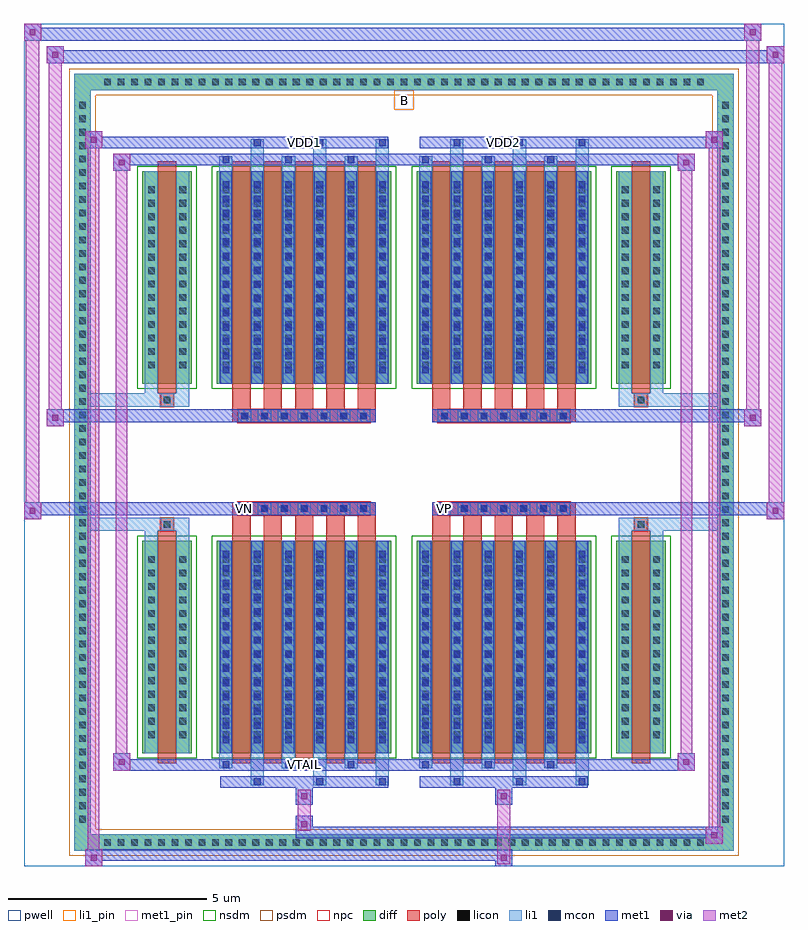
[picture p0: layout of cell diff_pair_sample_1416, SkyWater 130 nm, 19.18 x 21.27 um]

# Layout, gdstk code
import gdstk
lib = gdstk.Library(unit=1e-6, precision=5e-09)
def R(c, l, rs):  # rectangles x0, y0, x1, y1
    for r in rs: c.add(gdstk.rectangle(r[:2], r[2:], *l))
def A(c, l, x, y, w, h, nx, ny, dx, dy):  # array of equal rectangles
    R(c, l, [(x+i*dx, y+j*dy, x+i*dx+w, y+j*dy+h) for i in range(nx) for j in range(ny)])
def P(c, l, *ps):  # polygons
    for p in ps: c.add(gdstk.Polygon(p, *l))
pwell = (64, 44)
diff = (65, 20)
poly = (66, 20)
licon = (66, 44)
li1_pin = (67, 16)
li1 = (67, 20)
mcon = (67, 44)
met1_pin = (68, 16)
met1 = (68, 20)
via = (68, 44)
met2 = (69, 20)
nsdm = (93, 44)
psdm = (94, 20)
npc = (95, 20)

diff_pair_sample_1416 = lib.new_cell('diff_pair_sample_1416')
R(diff_pair_sample_1416, pwell, [(-9.59,-10.2,9.59,11.07), (-6.91,-8.39,-0.01,-0.805), (0.01,-8.39,6.91,-0.805), (-6.91,0.805,-0.01,8.39), (0.01,0.805,6.91,8.39)])
A(diff_pair_sample_1416, diff, -7.685, -9.8, 0.41, 0.41, 45, 2, 0.34, 19.19)
A(diff_pair_sample_1416, diff, -8.32, -9.215, 0.41, 0.41, 1, 54, 0, 0.34)
A(diff_pair_sample_1416, diff, 7.91, -9.215, 0.41, 0.41, 1, 54, 0, 0.34)
R(diff_pair_sample_1416, diff, [(-7.685,-9.8,7.685,-9.39), (-8.32,-9.215,-7.91,9.215), (7.91,-9.215,8.32,9.215), (-6.6,-7.345,-5.36,-1.985), (-4.72,-7.345,-0.32,-1.985), (0.32,-7.345,4.72,-1.985), (5.36,-7.345,6.6,-1.985), (-6.6,1.985,-5.36,7.345), (-4.72,1.985,-0.32,7.345), (0.32,1.985,4.72,7.345), (5.36,1.985,6.6,7.345), (-7.685,9.39,7.685,9.8)])
P(diff_pair_sample_1416, diff, [(8.32,9.8),(-8.32,9.8),(-8.32,-9.39),(-7.91,-9.39),(-7.91,9.39),(7.91,9.39),(7.91,-9.39),(-7.91,-9.39),(-8.32,-9.39),(-8.32,-9.8),(8.32,-9.8)])
A(diff_pair_sample_1416, poly, -4.33, -7.595, 0.46, 5.86, 5, 2, 0.79, 9.33)
A(diff_pair_sample_1416, poly, 0.71, -7.595, 0.46, 5.86, 5, 2, 0.79, 9.33)
A(diff_pair_sample_1416, poly, -4.33, -1.735, 0.46, 0.4, 5, 2, 0.79, 3.07)
A(diff_pair_sample_1416, poly, 0.71, -1.735, 0.46, 0.4, 5, 2, 0.79, 3.07)
A(diff_pair_sample_1416, poly, -4.185, -1.335, 0.33, 0.33, 7, 2, 0.5, 2.34)
A(diff_pair_sample_1416, poly, 0.855, -1.335, 0.33, 0.33, 7, 2, 0.5, 2.34)
R(diff_pair_sample_1416, poly, [(-6.21,-7.595,-5.75,-1.735), (5.75,-7.595,6.21,-1.735), (-6.145,-1.735,-5.815,-1.405), (-6.145,-1.735,-5.815,-1.405), (5.815,-1.735,6.145,-1.405), (5.815,-1.735,6.145,-1.405), (-4.33,-1.335,-0.71,-1.005), (0.71,-1.335,4.33,-1.005), (-4.33,1.005,-0.71,1.335), (0.71,1.005,4.33,1.335), (-6.145,1.405,-5.815,1.735), (-6.145,1.405,-5.815,1.735), (5.815,1.405,6.145,1.735), (5.815,1.405,6.145,1.735), (-6.21,1.735,-5.75,7.595), (5.75,1.735,6.21,7.595)])
A(diff_pair_sample_1416, licon, -7.565, -9.68, 0.17, 0.17, 45, 2, 0.34, 19.19)
A(diff_pair_sample_1416, licon, -8.2, -9.095, 0.17, 0.17, 1, 54, 0, 0.34)
A(diff_pair_sample_1416, licon, 8.03, -9.095, 0.17, 0.17, 1, 54, 0, 0.34)
A(diff_pair_sample_1416, licon, -6.46, -6.96, 0.17, 0.17, 1, 14, 0, 0.34)
A(diff_pair_sample_1416, licon, -5.67, -6.96, 0.17, 0.17, 1, 14, 0, 0.34)
A(diff_pair_sample_1416, licon, -4.58, -6.96, 0.17, 0.17, 6, 14, 0.79, 0.34)
A(diff_pair_sample_1416, licon, 0.46, -6.96, 0.17, 0.17, 6, 14, 0.79, 0.34)
A(diff_pair_sample_1416, licon, 5.5, -6.96, 0.17, 0.17, 1, 14, 0, 0.34)
A(diff_pair_sample_1416, licon, 6.29, -6.96, 0.17, 0.17, 1, 14, 0, 0.34)
A(diff_pair_sample_1416, licon, -4.105, -1.255, 0.17, 0.17, 7, 2, 0.5, 2.34)
A(diff_pair_sample_1416, licon, 0.935, -1.255, 0.17, 0.17, 7, 2, 0.5, 2.34)
A(diff_pair_sample_1416, licon, -6.46, 2.37, 0.17, 0.17, 1, 14, 0, 0.34)
A(diff_pair_sample_1416, licon, -5.67, 2.37, 0.17, 0.17, 1, 14, 0, 0.34)
A(diff_pair_sample_1416, licon, -4.58, 2.37, 0.17, 0.17, 6, 14, 0.79, 0.34)
A(diff_pair_sample_1416, licon, 0.46, 2.37, 0.17, 0.17, 6, 14, 0.79, 0.34)
A(diff_pair_sample_1416, licon, 5.5, 2.37, 0.17, 0.17, 1, 14, 0, 0.34)
A(diff_pair_sample_1416, licon, 6.29, 2.37, 0.17, 0.17, 1, 14, 0, 0.34)
R(diff_pair_sample_1416, licon, [(-6.065,-1.655,-5.895,-1.485), (5.895,-1.655,6.065,-1.485), (-6.065,1.485,-5.895,1.655), (5.895,1.485,6.065,1.655)])
R(diff_pair_sample_1416, li1_pin, [(-0.25,8.89,0.25,9.39)])
A(diff_pair_sample_1416, li1, -7.645, -9.76, 0.33, 0.33, 45, 2, 0.34, 19.19)
A(diff_pair_sample_1416, li1, -8.28, -9.175, 0.33, 0.33, 1, 54, 0, 0.34)
A(diff_pair_sample_1416, li1, 7.95, -9.175, 0.33, 0.33, 1, 54, 0, 0.34)
A(diff_pair_sample_1416, li1, -3.87, -8.15, 0.33, 0.805, 3, 2, 1.58, 15.495)
A(diff_pair_sample_1416, li1, -3.79, -8.15, 0.17, 0.17, 3, 2, 1.58, 16.13)
A(diff_pair_sample_1416, li1, 1.17, -8.15, 0.33, 0.805, 3, 2, 1.58, 15.495)
A(diff_pair_sample_1416, li1, 1.25, -8.15, 0.17, 0.17, 3, 2, 1.58, 16.13)
A(diff_pair_sample_1416, li1, -4.66, -7.72, 0.33, 0.375, 3, 2, 1.58, 15.065)
A(diff_pair_sample_1416, li1, -4.58, -7.72, 0.17, 0.17, 3, 2, 1.58, 15.27)
A(diff_pair_sample_1416, li1, 0.38, -7.72, 0.33, 0.375, 3, 2, 1.58, 15.065)
A(diff_pair_sample_1416, li1, 0.46, -7.72, 0.17, 0.17, 3, 2, 1.58, 15.27)
A(diff_pair_sample_1416, li1, -4.66, -7.345, 0.33, 5.36, 6, 2, 0.79, 9.33)
A(diff_pair_sample_1416, li1, 0.38, -7.345, 0.33, 5.36, 6, 2, 0.79, 9.33)
A(diff_pair_sample_1416, li1, -4.58, -7.09, 0.17, 0.17, 6, 14, 0.79, 0.36)
A(diff_pair_sample_1416, li1, -4.58, -7.09, 0.17, 4.85, 6, 2, 0.79, 9.33)
A(diff_pair_sample_1416, li1, 0.46, -7.09, 0.17, 0.17, 6, 14, 0.79, 0.36)
A(diff_pair_sample_1416, li1, 0.46, -7.09, 0.17, 4.85, 6, 2, 0.79, 9.33)
A(diff_pair_sample_1416, li1, -6.54, -7.04, 0.33, 0.33, 1, 14, 0, 0.34)
A(diff_pair_sample_1416, li1, -5.75, -7.04, 0.33, 0.33, 1, 14, 0, 0.34)
A(diff_pair_sample_1416, li1, -4.66, -7.04, 0.33, 0.33, 6, 14, 0.79, 0.34)
A(diff_pair_sample_1416, li1, 0.38, -7.04, 0.33, 0.33, 6, 14, 0.79, 0.34)
A(diff_pair_sample_1416, li1, 5.42, -7.04, 0.33, 0.33, 1, 14, 0, 0.34)
A(diff_pair_sample_1416, li1, 6.21, -7.04, 0.33, 0.33, 1, 14, 0, 0.34)
A(diff_pair_sample_1416, li1, -4.185, -1.335, 0.33, 0.33, 7, 2, 0.5, 2.34)
A(diff_pair_sample_1416, li1, 0.855, -1.335, 0.33, 0.33, 7, 2, 0.5, 2.34)
A(diff_pair_sample_1416, li1, -4.58, 2.24, 0.17, 0.17, 6, 14, 0.79, 0.36)
A(diff_pair_sample_1416, li1, 0.46, 2.24, 0.17, 0.17, 6, 14, 0.79, 0.36)
A(diff_pair_sample_1416, li1, -6.54, 2.29, 0.33, 0.33, 1, 14, 0, 0.34)
A(diff_pair_sample_1416, li1, -5.75, 2.29, 0.33, 0.33, 1, 14, 0, 0.34)
A(diff_pair_sample_1416, li1, -4.66, 2.29, 0.33, 0.33, 6, 14, 0.79, 0.34)
A(diff_pair_sample_1416, li1, 0.38, 2.29, 0.33, 0.33, 6, 14, 0.79, 0.34)
A(diff_pair_sample_1416, li1, 5.42, 2.29, 0.33, 0.33, 1, 14, 0, 0.34)
A(diff_pair_sample_1416, li1, 6.21, 2.29, 0.33, 0.33, 1, 14, 0, 0.34)
R(diff_pair_sample_1416, li1, [(-8.32,-9.8,-7.91,-9.39), (-8.32,-9.8,-7.91,-9.39), (-7.91,-9.8,7.91,-9.39), (7.91,-9.8,8.32,-9.39), (7.91,-9.8,8.32,-9.39), (-8.32,-9.39,-7.91,9.39), (7.91,-9.39,8.32,9.39), (-6.54,-7.345,-6.21,-1.985), (-5.75,-7.345,-5.42,-1.985), (5.42,-7.345,5.75,-1.985), (6.21,-7.345,6.54,-1.985), (-6.54,-1.985,-6.21,-1.405), (-5.75,-1.985,-5.42,-1.405), (5.42,-1.985,5.75,-1.405), (6.21,-1.985,6.54,-1.405), (-8.32,-1.735,-6.145,-1.405), (-6.54,-1.735,-6.145,-1.405), (-6.145,-1.735,-5.815,-1.405), (-5.815,-1.735,-5.42,-1.405), (5.42,-1.735,5.815,-1.405), (5.815,-1.735,6.145,-1.405), (5.815,-1.735,8.32,-1.405), (6.145,-1.735,6.54,-1.405), (-8.32,1.405,-6.145,1.735), (-6.54,1.405,-6.145,1.735), (-6.54,1.405,-6.21,1.985), (-6.145,1.405,-5.815,1.735), (-5.815,1.405,-5.42,1.735), (-5.75,1.405,-5.42,1.985), (5.42,1.405,5.815,1.735), (5.42,1.405,5.75,1.985), (5.815,1.405,6.145,1.735), (5.815,1.405,8.32,1.735), (6.145,1.405,6.54,1.735), (6.21,1.405,6.54,1.985), (-6.54,1.985,-6.21,7.345), (-5.75,1.985,-5.42,7.345), (5.42,1.985,5.75,7.345), (6.21,1.985,6.54,7.345), (-8.32,9.39,-7.91,9.8), (-8.32,9.39,-7.91,9.8), (-7.91,9.39,7.91,9.8), (7.91,9.39,8.32,9.8), (7.91,9.39,8.32,9.8)])
A(diff_pair_sample_1416, mcon, -3.79, -8.15, 0.17, 0.17, 3, 2, 1.58, 16.13)
A(diff_pair_sample_1416, mcon, 1.25, -8.15, 0.17, 0.17, 3, 2, 1.58, 16.13)
A(diff_pair_sample_1416, mcon, -4.58, -7.72, 0.17, 0.17, 3, 2, 1.58, 15.27)
A(diff_pair_sample_1416, mcon, 0.46, -7.72, 0.17, 0.17, 3, 2, 1.58, 15.27)
A(diff_pair_sample_1416, mcon, -4.58, -7.09, 0.17, 0.17, 6, 14, 0.79, 0.36)
A(diff_pair_sample_1416, mcon, 0.46, -7.09, 0.17, 0.17, 6, 14, 0.79, 0.36)
A(diff_pair_sample_1416, mcon, -4.105, -1.255, 0.17, 0.17, 7, 2, 0.5, 2.34)
A(diff_pair_sample_1416, mcon, 0.935, -1.255, 0.17, 0.17, 7, 2, 0.5, 2.34)
A(diff_pair_sample_1416, mcon, -4.58, 2.24, 0.17, 0.17, 6, 14, 0.79, 0.36)
A(diff_pair_sample_1416, mcon, 0.46, 2.24, 0.17, 0.17, 6, 14, 0.79, 0.36)
R(diff_pair_sample_1416, met1_pin, [(-2.655,-7.76,-2.385,-7.49), (-4.155,-1.295,-3.885,-1.025), (0.885,-1.295,1.155,-1.025), (-2.655,7.94,-2.385,8.21), (2.385,7.94,2.655,8.21)])
A(diff_pair_sample_1416, met1, -3.85, -8.21, 0.29, 0.29, 3, 2, 1.58, 16.13)
A(diff_pair_sample_1416, met1, 1.19, -8.21, 0.29, 0.29, 3, 2, 1.58, 16.13)
A(diff_pair_sample_1416, met1, -4.64, -7.78, 0.29, 0.29, 3, 2, 1.58, 15.27)
A(diff_pair_sample_1416, met1, 0.4, -7.78, 0.29, 0.29, 3, 2, 1.58, 15.27)
A(diff_pair_sample_1416, met1, -4.64, -7.345, 0.29, 5.36, 6, 2, 0.79, 9.33)
A(diff_pair_sample_1416, met1, 0.4, -7.345, 0.29, 5.36, 6, 2, 0.79, 9.33)
A(diff_pair_sample_1416, met1, -4.64, -7.15, 0.29, 0.29, 6, 14, 0.79, 0.36)
A(diff_pair_sample_1416, met1, 0.4, -7.15, 0.29, 0.29, 6, 14, 0.79, 0.36)
A(diff_pair_sample_1416, met1, -4.165, -1.315, 0.29, 0.29, 7, 2, 0.5, 2.34)
A(diff_pair_sample_1416, met1, 0.875, -1.315, 0.29, 0.29, 7, 2, 0.5, 2.34)
A(diff_pair_sample_1416, met1, -4.64, 2.18, 0.29, 0.29, 6, 14, 0.79, 0.36)
A(diff_pair_sample_1416, met1, 0.4, 2.18, 0.29, 0.29, 6, 14, 0.79, 0.36)
R(diff_pair_sample_1416, met1, [(-8.05,-10.2,-7.62,-9.77), (2.305,-10.2,2.735,-9.77), (-8.05,-10.06,2.735,-9.77), (7.62,-9.63,8.05,-9.2), (-2.735,-9.49,8.05,-9.2), (-2.735,-9.35,-2.305,-8.92), (-2.735,-8.64,-2.305,-8.21), (2.305,-8.64,2.735,-8.21), (-4.64,-8.21,-0.4,-7.92), (0.4,-8.21,4.64,-7.92), (-7.34,-7.78,-6.91,-7.35), (-7.34,-7.78,-4.64,-7.49), (-4.64,-7.78,-0.4,-7.49), (-0.4,-7.78,0.4,-7.49), (0.4,-7.78,4.64,-7.49), (4.64,-7.78,7.34,-7.49), (6.91,-7.78,7.34,-7.35), (-9.59,-1.435,-9.16,-1.005), (9.16,-1.435,9.59,-1.005), (-9.59,-1.335,-0.71,-1.005), (-4.33,-1.335,-0.71,-1.005), (0.71,-1.335,4.33,-1.005), (0.71,-1.335,9.59,-1.005), (-9.02,0.905,-8.59,1.335), (8.59,0.905,9.02,1.335), (-9.02,1.005,-4.33,1.335), (-4.33,1.005,-0.71,1.335), (0.71,1.005,4.33,1.335), (4.33,1.005,9.02,1.335), (-7.34,7.35,-6.91,7.78), (6.91,7.35,7.34,7.78), (-7.34,7.49,-4.64,7.78), (-4.64,7.49,-0.4,7.78), (-0.4,7.49,0.4,7.78), (0.4,7.49,4.64,7.78), (4.64,7.49,7.34,7.78), (-8.05,7.92,-7.62,8.35), (-8.05,7.92,-4.64,8.21), (-4.64,7.92,-0.4,8.21), (0.4,7.92,4.64,8.21), (4.64,7.92,8.05,8.21), (7.62,7.92,8.05,8.35), (-9.02,10.07,-8.59,10.5), (-9.02,10.07,-6.91,10.4), (-6.91,10.07,6.91,10.4), (6.91,10.07,9.59,10.4), (9.16,10.07,9.59,10.5), (-9.59,10.64,-9.16,11.07), (-9.59,10.64,-6.91,10.97), (-6.91,10.64,6.91,10.97), (6.91,10.64,9.02,10.97), (8.59,10.64,9.02,11.07)])
R(diff_pair_sample_1416, via, [(-7.91,-10.06,-7.76,-9.91), (2.445,-10.06,2.595,-9.91), (7.76,-9.49,7.91,-9.34), (-2.595,-9.21,-2.445,-9.06), (-2.595,-8.5,-2.445,-8.35), (2.445,-8.5,2.595,-8.35), (-7.2,-7.64,-7.05,-7.49), (7.05,-7.64,7.2,-7.49), (-9.45,-1.295,-9.3,-1.145), (9.3,-1.295,9.45,-1.145), (-8.88,1.045,-8.73,1.195), (8.73,1.045,8.88,1.195), (-7.2,7.49,-7.05,7.64), (7.05,7.49,7.2,7.64), (-7.91,8.06,-7.76,8.21), (7.76,8.06,7.91,8.21), (-8.88,10.21,-8.73,10.36), (9.3,10.21,9.45,10.36), (-9.45,10.78,-9.3,10.93), (8.73,10.78,8.88,10.93)])
R(diff_pair_sample_1416, met2, [(-8.05,-10.2,-7.62,-9.77), (-7.98,-10.2,-7.69,8.35), (-7.69,-10.2,-7.62,-9.77), (-8,-10.15,-7.67,-9.82), (2.355,-10.15,2.685,-9.82), (2.355,-9.82,2.685,-8.59), (7.62,-9.63,8.05,-9.2), (7.69,-9.63,7.98,8.35), (7.98,-9.63,8.05,-9.2), (7.67,-9.58,8,-9.25), (-2.685,-9.3,-2.355,-8.97), (-2.685,-8.97,-2.355,-8.59), (-2.685,-8.59,-2.355,-8.26), (2.355,-8.59,2.685,-8.26), (-7.34,-7.78,-6.91,-7.35), (-7.27,-7.78,-6.98,7.78), (-6.98,-7.78,-6.91,-7.35), (6.91,-7.78,7.34,-7.35), (6.98,-7.78,7.27,7.78), (7.27,-7.78,7.34,-7.35), (-7.29,-7.73,-6.96,-7.4), (6.96,-7.73,7.29,-7.4), (-9.59,-1.435,-9.16,-1.005), (-9.54,-1.435,-9.21,11.07), (-9.21,-1.435,-9.16,-1.005), (9.16,-1.435,9.59,-1.005), (9.21,-1.435,9.54,10.5), (9.54,-1.435,9.59,-1.005), (-9.54,-1.385,-9.21,-1.055), (9.21,-1.385,9.54,-1.055), (-9.02,0.905,-8.59,1.335), (-8.97,0.905,-8.64,10.5), (-8.64,0.905,-8.59,1.335), (8.59,0.905,9.02,1.335), (8.64,0.905,8.97,11.07), (8.97,0.905,9.02,1.335), (-8.97,0.955,-8.64,1.285), (8.64,0.955,8.97,1.285), (-7.34,7.35,-6.91,7.78), (-6.98,7.35,-6.91,7.78), (6.91,7.35,7.34,7.78), (7.27,7.35,7.34,7.78), (-7.29,7.4,-6.96,7.73), (6.96,7.4,7.29,7.73), (-8.05,7.92,-7.62,8.35), (-7.69,7.92,-7.62,8.35), (7.62,7.92,8.05,8.35), (7.98,7.92,8.05,8.35), (-8,7.97,-7.67,8.3), (7.67,7.97,8,8.3), (-9.02,10.07,-8.59,10.5), (-8.64,10.07,-8.59,10.5), (9.16,10.07,9.59,10.5), (9.54,10.07,9.59,10.5), (-8.97,10.12,-8.64,10.45), (9.21,10.12,9.54,10.45), (-9.59,10.64,-9.16,11.07), (-9.21,10.64,-9.16,11.07), (8.59,10.64,9.02,11.07), (8.97,10.64,9.02,11.07), (-9.54,10.69,-9.21,11.02), (8.64,10.69,8.97,11.02)])
R(diff_pair_sample_1416, nsdm, [(-6.73,-7.475,-5.23,-1.855), (-4.85,-7.475,-0.19,-1.855), (0.19,-7.475,4.85,-1.855), (5.23,-7.475,6.73,-1.855), (-6.73,1.855,-5.23,7.475), (-4.85,1.855,-0.19,7.475), (0.19,1.855,4.85,7.475), (5.23,1.855,6.73,7.475)])
P(diff_pair_sample_1416, psdm, [(8.45,9.93),(-8.45,9.93),(-8.45,-9.26),(-7.78,-9.26),(-7.78,9.26),(7.78,9.26),(7.78,-9.26),(-7.78,-9.26),(-8.45,-9.26),(-8.45,-9.93),(8.45,-9.93)])
A(diff_pair_sample_1416, npc, -4.205, -1.355, 0.37, 0.37, 7, 2, 0.5, 2.34)
A(diff_pair_sample_1416, npc, 0.835, -1.355, 0.37, 0.37, 7, 2, 0.5, 2.34)
R(diff_pair_sample_1416, npc, [(-6.165,-1.755,-5.795,-1.385), (5.795,-1.755,6.165,-1.385), (-4.205,-1.355,-3.335,-0.985), (-4.205,-1.355,-3.335,-0.985), (-3.705,-1.355,-2.835,-0.985), (-3.705,-1.355,-2.835,-0.985), (-3.205,-1.355,-2.335,-0.985), (-3.205,-1.355,-2.335,-0.985), (-2.705,-1.355,-1.835,-0.985), (-2.705,-1.355,-1.835,-0.985), (-2.205,-1.355,-1.335,-0.985), (-2.205,-1.355,-1.335,-0.985), (-1.705,-1.355,-0.835,-0.985), (-1.705,-1.355,-0.835,-0.985), (0.835,-1.355,1.705,-0.985), (0.835,-1.355,1.705,-0.985), (1.335,-1.355,2.205,-0.985), (1.335,-1.355,2.205,-0.985), (1.835,-1.355,2.705,-0.985), (1.835,-1.355,2.705,-0.985), (2.335,-1.355,3.205,-0.985), (2.335,-1.355,3.205,-0.985), (2.835,-1.355,3.705,-0.985), (2.835,-1.355,3.705,-0.985), (3.335,-1.355,4.205,-0.985), (3.335,-1.355,4.205,-0.985), (-4.205,0.985,-3.335,1.355), (-4.205,0.985,-3.335,1.355), (-3.705,0.985,-2.835,1.355), (-3.705,0.985,-2.835,1.355), (-3.205,0.985,-2.335,1.355), (-3.205,0.985,-2.335,1.355), (-2.705,0.985,-1.835,1.355), (-2.705,0.985,-1.835,1.355), (-2.205,0.985,-1.335,1.355), (-2.205,0.985,-1.335,1.355), (-1.705,0.985,-0.835,1.355), (-1.705,0.985,-0.835,1.355), (0.835,0.985,1.705,1.355), (0.835,0.985,1.705,1.355), (1.335,0.985,2.205,1.355), (1.335,0.985,2.205,1.355), (1.835,0.985,2.705,1.355), (1.835,0.985,2.705,1.355), (2.335,0.985,3.205,1.355), (2.335,0.985,3.205,1.355), (2.835,0.985,3.705,1.355), (2.835,0.985,3.705,1.355), (3.335,0.985,4.205,1.355), (3.335,0.985,4.205,1.355), (-6.165,1.385,-5.795,1.755), (5.795,1.385,6.165,1.755)])
diff_pair_sample_1416.add(gdstk.Label('VTAIL', (-2.52,-7.625), layer=68, texttype=5))
diff_pair_sample_1416.add(gdstk.Label('VN', (-4.02,-1.16), layer=68, texttype=5))
diff_pair_sample_1416.add(gdstk.Label('VP', (1.02,-1.16), layer=68, texttype=5))
diff_pair_sample_1416.add(gdstk.Label('B', (0,9.14), layer=67, texttype=5))
diff_pair_sample_1416.add(gdstk.Label('VDD2', (2.52,8.075), layer=68, texttype=5))
diff_pair_sample_1416.add(gdstk.Label('VDD1', (-2.52,8.075), layer=68, texttype=5))

lib.write_gds('diff_pair_sample_1416.gds')
